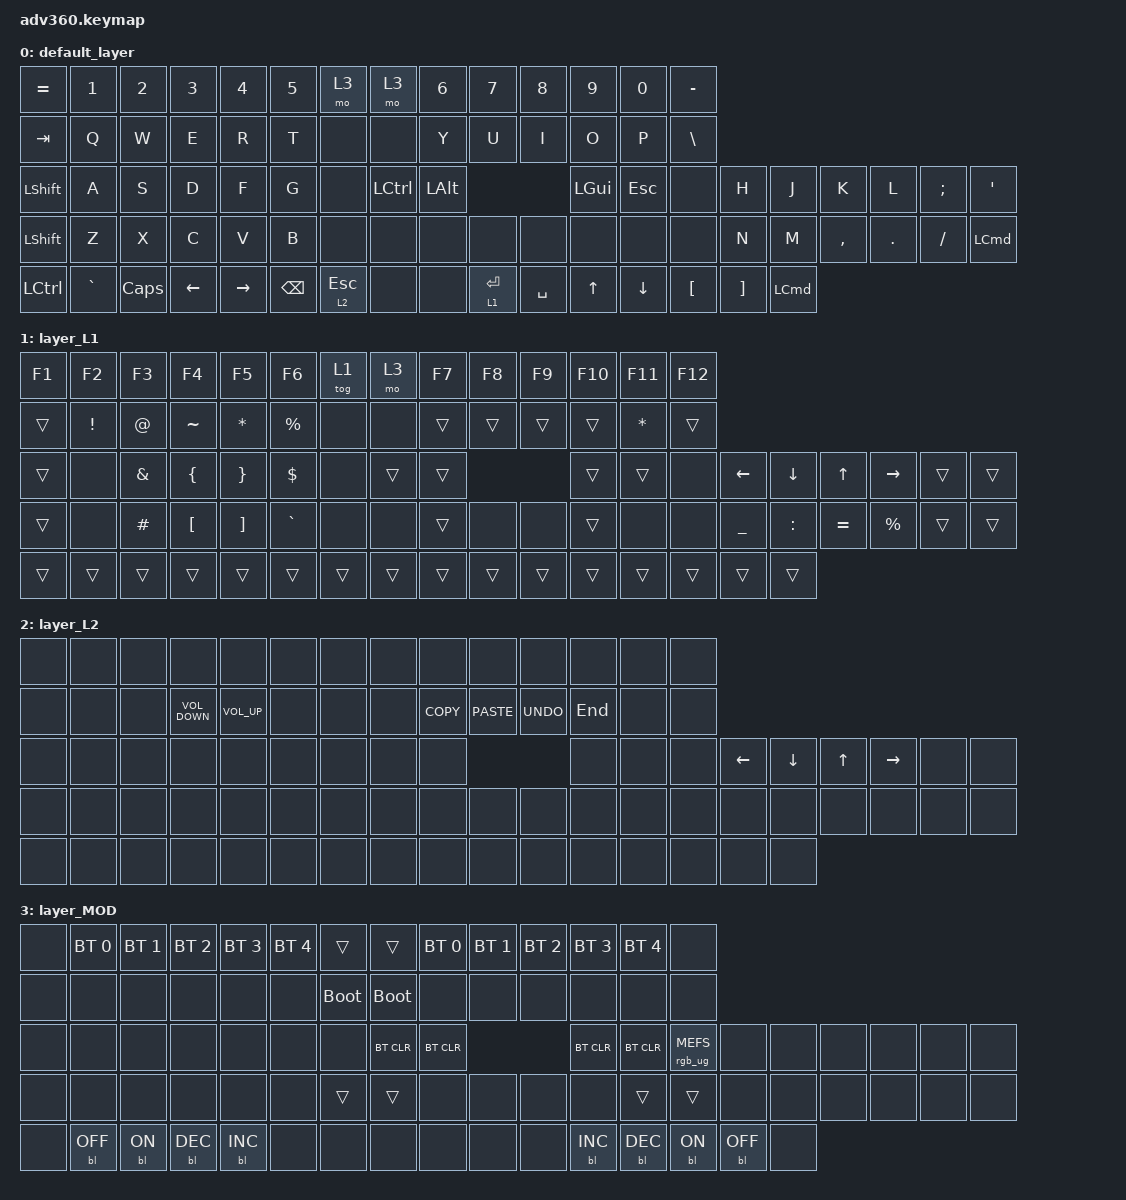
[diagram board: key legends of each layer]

/*
 * Copyright (c) 2020 The ZMK Contributors
 *
 * SPDX-License-Identifier: MIT
 */


/* THIS FILE WAS GENERATED!
 *
 * This file was generated automatically. You may or may not want to
 * edit it directly.
 */

#include <behaviors.dtsi>
#include <dt-bindings/zmk/keys.h>
#include <dt-bindings/zmk/bt.h>
#include <dt-bindings/zmk/rgb.h>
#include <dt-bindings/zmk/backlight.h>

/ {
  behaviors {
    #include "macros.dtsi"

    hm: homerow_mods {
        compatible = "zmk,behavior-hold-tap";
        label = "HOMEROW_MODS";
        #binding-cells = <2>;
        tapping-term-ms = <200>;
        quick_tap_ms = <175>;
        flavor = "tap-preferred";
        bindings = <&kp>, <&kp>;
    };
  };

    keymap {
        compatible = "zmk,keymap";


        default_layer {
            bindings = <
        &kp EQUAL     &kp N1    &kp N2    &kp N3     &kp N4         &kp N5                &mo 3             &mo 3    &kp N6       &kp N7     &kp N8    &kp N9    &kp N0  &kp MINUS
          &kp TAB      &kp Q     &kp W     &kp E      &kp R          &kp T                &none             &none     &kp Y        &kp U      &kp I     &kp O     &kp P   &kp BSLH
   &kp LEFT_SHIFT      &kp A     &kp S     &kp D      &kp F          &kp G                &none  &kp LEFT_CONTROL  &kp LALT                          &kp LGUI   &kp ESC      &none     &kp H             &kp J      &kp K    &kp L  &kp SEMI  &kp SINGLE_QUOTE
 &kp LEFT_SHIFT      &kp Z     &kp X     &kp C      &kp V          &kp B                &none             &none     &none        &none      &none     &none     &none      &none     &kp N             &kp M  &kp COMMA  &kp DOT  &kp FSLH  &kp LEFT_COMMAND
        &kp LCTRL  &kp GRAVE  &kp CAPS  &kp LEFT  &kp RIGHT  &kp BACKSPACE            &lt 2 ESC             &none     &none  &lt 1 ENTER  &kp SPACE    &kp UP  &kp DOWN   &kp LBKT  &kp RBKT  &kp LEFT_COMMAND
            >;
        };

        layer_L1 {
            bindings = <
 &kp F1           &kp F2         &kp F3            &kp F4             &kp F5       &kp F6            &tog 1   &mo 3  &kp F7  &kp F8  &kp F9  &kp F10       &kp F11  &kp F12
 &trans  &kp EXCLAMATION    &kp AT_SIGN         &kp TILDE           &kp STAR  &kp PERCENT             &none   &none  &trans  &trans  &trans   &trans  &kp ASTERISK   &trans
 &trans            &none  &kp AMPERSAND    &kp LEFT_BRACE    &kp RIGHT_BRACE   &kp DOLLAR             &none  &trans  &trans                   &trans        &trans    &none        &kp LEFT   &kp DOWN     &kp UP    &kp RIGHT  &trans  &trans
 &trans            &none       &kp HASH  &kp LEFT_BRACKET  &kp RIGHT_BRACKET    &kp GRAVE             &none   &none  &trans   &none   &none   &trans         &none    &none  &kp UNDERSCORE  &kp COLON  &kp EQUAL  &kp PERCENT  &trans  &trans
 &trans           &trans         &trans            &trans             &trans       &trans            &trans  &trans  &trans  &trans  &trans   &trans        &trans   &trans          &trans     &trans
            >;
        };

        layer_L2 {
            bindings = <
  &none   &none   &none              &none         &none   &none            &none   &none       &none        &none       &none    &none   &none   &none
  &none   &none   &none  &kp K_VOLUME_DOWN  &kp K_VOL_UP   &none            &none   &none  &kp K_COPY  &kp K_PASTE  &kp K_UNDO  &kp END   &none   &none
  &none   &none   &none              &none         &none   &none            &none   &none       &none                             &none   &none   &none  &kp LEFT  &kp DOWN  &kp UP  &kp RIGHT   &none   &none
  &none   &none   &none              &none         &none   &none            &none   &none       &none        &none       &none    &none   &none   &none     &none     &none   &none      &none   &none   &none
  &none   &none   &none              &none         &none   &none            &none   &none       &none        &none       &none    &none   &none   &none     &none     &none
            >;
        };

        layer_MOD {
            bindings = <
  &none  &bt BT_SEL 0  &bt BT_SEL 1  &bt BT_SEL 2  &bt BT_SEL 3  &bt BT_SEL 4                 &trans       &trans  &bt BT_SEL 0  &bt BT_SEL 1  &bt BT_SEL 2  &bt BT_SEL 3  &bt BT_SEL 4                 &none
  &none         &none         &none         &none         &none         &none            &bootloader  &bootloader         &none         &none         &none         &none         &none                 &none
  &none         &none         &none         &none         &none         &none                  &none   &bt BT_CLR    &bt BT_CLR                                &bt BT_CLR    &bt BT_CLR  &rgb_ug RGB_MEFS_CMD       &none   &none   &none   &none   &none   &none
  &none         &none         &none         &none         &none         &none                 &trans       &trans         &none         &none         &none         &none        &trans                &trans       &none   &none   &none   &none   &none   &none
  &none    &bl BL_OFF     &bl BL_ON    &bl BL_DEC    &bl BL_INC         &none                  &none        &none         &none         &none         &none    &bl BL_INC    &bl BL_DEC             &bl BL_ON  &bl BL_OFF   &none
            >;
        };

    };
};
